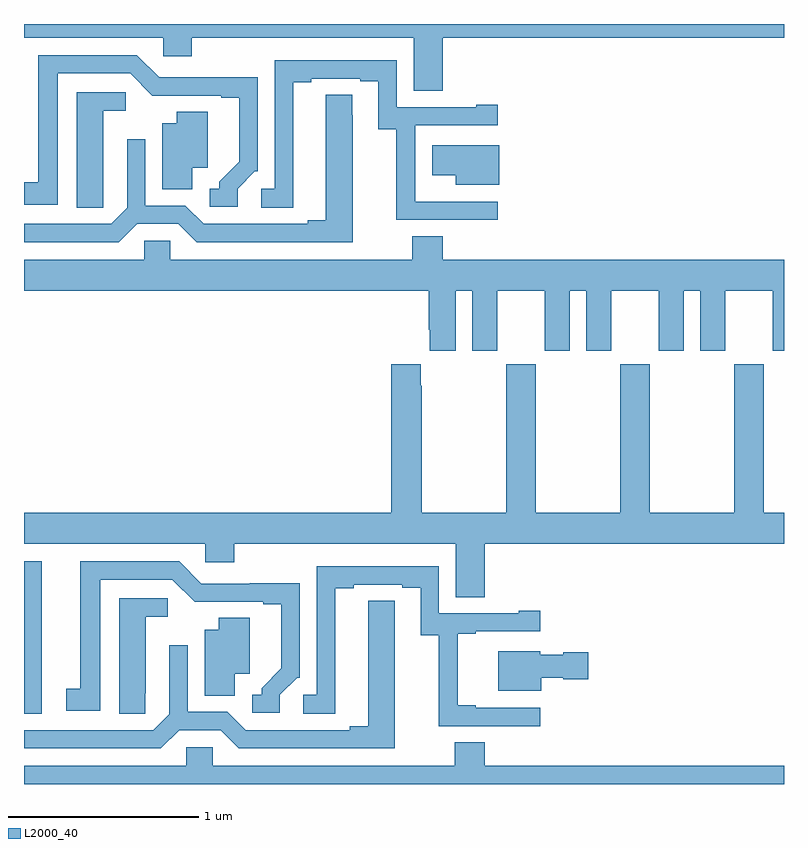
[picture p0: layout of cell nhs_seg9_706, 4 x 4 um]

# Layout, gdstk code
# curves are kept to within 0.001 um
import gdstk
lib = gdstk.Library(unit=1e-6, precision=1e-09)
def R(c, l, rs):  # rectangles x0, y0, x1, y1
    for r in rs: c.add(gdstk.rectangle(r[:2], r[2:], *l))
def P(c, l, *ps):  # polygons
    for p in ps: c.add(gdstk.Polygon(p, *l))
L2000_40 = (2000, 40)

nhs_seg9_706 = lib.new_cell('nhs_seg9_706')
R(nhs_seg9_706, L2000_40, [(147,1184.871,147.094,1185.672)])
P(nhs_seg9_706, L2000_40, [(149.204,1188.428),(151,1188.428),(151,1188.5),(147,1188.5),(147,1188.428),(147.732,1188.428),(147.732,1188.33),(147.884,1188.33),(147.884,1188.428),(149.051,1188.428),(149.051,1188.148),(149.204,1188.148)],
  [(148.125,1187.634),(148.215,1187.724),(148.23,1187.724),(148.23,1188.221),(147.967,1188.221),(147.967,1188.219),(147.711,1188.219),(147.594,1188.336),(147.074,1188.336),(147.074,1187.666),(147,1187.666),(147,1187.55),(147.178,1187.55),(147.178,1188.24),(147.558,1188.24),(147.676,1188.122),(148.037,1188.123),(148.037,1188.111),(148.133,1188.111),(148.133,1187.774),(148.028,1187.669),(148.028,1187.634),(147.978,1187.634),(147.978,1187.538),(148.125,1187.538)],
  [(149.494,1187.565),(149.06,1187.565),(149.06,1187.566),(149.058,1187.566),(149.058,1187.967),(149.494,1187.967),(149.494,1188.076),(149.381,1188.076),(149.381,1188.063),(148.962,1188.063),(148.962,1188.309),(148.32,1188.309),(148.32,1187.634),(148.248,1187.634),(148.248,1187.533),(148.417,1187.533),(148.417,1188.193),(148.513,1188.193),(148.513,1188.213),(148.769,1188.213),(148.769,1188.198),(148.865,1188.198),(148.865,1187.947),(148.96,1187.947),(148.96,1187.469),(149.494,1187.469)],
  [(147.417,1187.641),(147.418,1187.641),(147.418,1188.044),(147.535,1188.044),(147.535,1188.141),(147.278,1188.141),(147.278,1187.533),(147.417,1187.533)],
  [(147.595,1187.448),(147.813,1187.448),(147.909,1187.352),(148.729,1187.352),(148.728,1188.128),(148.589,1188.128),(148.589,1187.468),(148.493,1187.468),(148.493,1187.448),(147.945,1187.448),(147.849,1187.544),(147.639,1187.544),(147.639,1187.893),(147.543,1187.893),(147.543,1187.532),(147.459,1187.448),(147,1187.448),(147,1187.352),(147.499,1187.352)],
  [(147.886,1187.744),(147.967,1187.744),(147.967,1188.038),(147.803,1188.038),(147.803,1187.977),(147.728,1187.977),(147.728,1187.629),(147.886,1187.629)],
  [(149.5,1187.863),(149.148,1187.863),(149.148,1187.705),(149.273,1187.705),(149.273,1187.654),(149.5,1187.654)],
  [(149.272,1187.096),(149.36,1187.096),(149.36,1186.779),(149.491,1186.779),(149.491,1187.096),(149.741,1187.096),(149.741,1186.779),(149.872,1186.779),(149.872,1187.096),(149.96,1187.096),(149.96,1186.779),(150.091,1186.779),(150.091,1187.096),(150.341,1187.096),(150.341,1186.779),(150.472,1186.779),(150.472,1187.096),(150.56,1187.096),(150.56,1186.779),(150.691,1186.779),(150.691,1187.096),(150.941,1187.096),(150.941,1186.779),(151,1186.779),(151,1187.26),(149.204,1187.26),(149.204,1187.384),(149.044,1187.384),(149.044,1187.26),(147.771,1187.26),(147.771,1187.358),(147.633,1187.358),(147.633,1187.26),(147,1187.26),(147,1187.096),(149.129,1187.096),(149.129,1186.891),(149.135,1186.891),(149.135,1186.779),(149.272,1186.779)],
  [(149.426,1185.764),(151,1185.764),(151,1185.928),(150.894,1185.928),(150.894,1186.708),(150.739,1186.708),(150.739,1185.928),(150.294,1185.928),(150.294,1186.708),(150.139,1186.708),(150.139,1185.928),(149.694,1185.928),(149.694,1186.708),(149.539,1186.708),(149.539,1185.928),(149.094,1185.928),(149.094,1186.595),(149.089,1186.595),(149.089,1186.708),(148.934,1186.708),(148.934,1185.928),(147,1185.928),(147,1185.764),(147.954,1185.764),(147.954,1185.666),(148.106,1185.666),(148.106,1185.764),(149.273,1185.764),(149.273,1185.484),(149.426,1185.484)],
  [(148.347,1184.97),(148.437,1185.06),(148.452,1185.06),(148.452,1185.557),(148.189,1185.557),(148.189,1185.555),(147.933,1185.555),(147.816,1185.672),(147.296,1185.672),(147.296,1185.002),(147.222,1185.002),(147.222,1184.886),(147.4,1184.886),(147.4,1185.576),(147.78,1185.576),(147.898,1185.458),(148.259,1185.459),(148.259,1185.447),(148.355,1185.447),(148.355,1185.11),(148.25,1185.005),(148.25,1184.97),(148.2,1184.97),(148.2,1184.874),(148.347,1184.874)],
  [(149.716,1184.901),(149.377,1184.901),(149.377,1184.914),(149.282,1184.914),(149.282,1185.291),(149.377,1185.291),(149.377,1185.303),(149.716,1185.303),(149.716,1185.412),(149.603,1185.412),(149.603,1185.399),(149.184,1185.399),(149.184,1185.645),(148.542,1185.645),(148.542,1184.97),(148.47,1184.97),(148.47,1184.869),(148.639,1184.869),(148.639,1185.529),(148.735,1185.529),(148.735,1185.549),(148.991,1185.549),(148.991,1185.534),(149.087,1185.534),(149.087,1185.283),(149.182,1185.283),(149.182,1184.805),(149.716,1184.805)],
  [(147.639,1184.977),(147.64,1184.977),(147.64,1185.38),(147.757,1185.38),(147.757,1185.477),(147.5,1185.477),(147.5,1184.869),(147.639,1184.869)],
  [(147.817,1184.784),(148.035,1184.784),(148.131,1184.688),(148.951,1184.688),(148.95,1185.464),(148.811,1185.464),(148.811,1184.804),(148.715,1184.804),(148.715,1184.784),(148.167,1184.784),(148.071,1184.88),(147.861,1184.88),(147.861,1185.229),(147.765,1185.229),(147.765,1184.868),(147.681,1184.784),(147,1184.784),(147,1184.688),(147.721,1184.688)],
  [(148.108,1185.08),(148.189,1185.08),(148.189,1185.374),(148.025,1185.374),(148.025,1185.313),(147.95,1185.313),(147.95,1184.965),(148.108,1184.965)],
  [(149.722,1185.059),(149.838,1185.059),(149.838,1185.052),(149.971,1185.052),(149.971,1185.194),(149.838,1185.194),(149.838,1185.181),(149.718,1185.181),(149.718,1185.199),(149.495,1185.199),(149.495,1184.99),(149.722,1184.99)],
  [(151,1184.596),(149.426,1184.596),(149.426,1184.72),(149.266,1184.72),(149.266,1184.596),(147.993,1184.596),(147.993,1184.694),(147.855,1184.694),(147.855,1184.596),(147,1184.596),(147,1184.5),(151,1184.5)])

lib.write_gds('nhs_seg9_706.gds')
